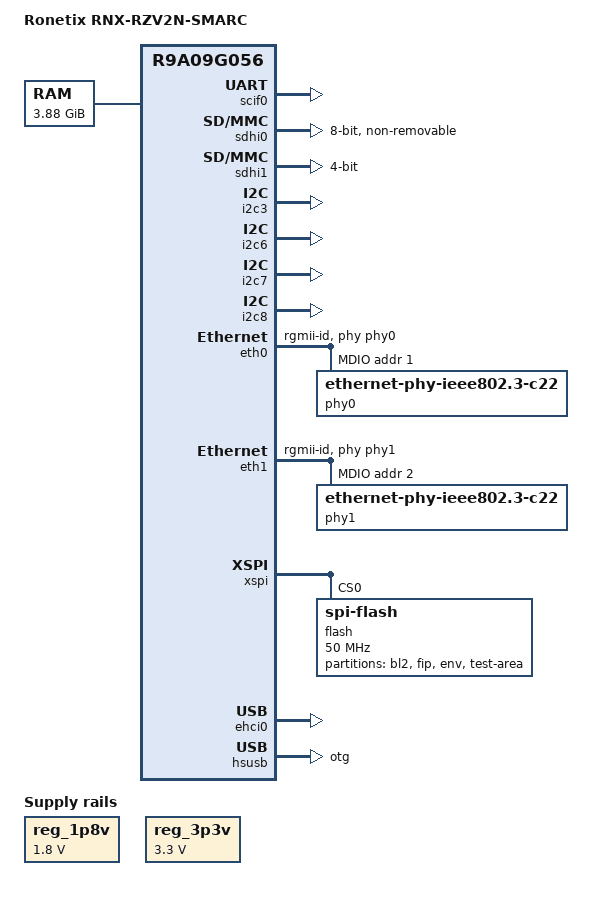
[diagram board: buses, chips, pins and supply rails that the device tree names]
// SPDX-License-Identifier: (GPL-2.0-only OR BSD-2-Clause)
/*
 * Device Tree Source for the RZ/V2N EVK board
 *
 * Copyright (C) 2024 Renesas Electronics Corp.
 */

/dts-v1/;
#include "r9a09g056.dtsi"
#include <dt-bindings/pinctrl/rzv2n-pinctrl.h>

/ {
	model = "Ronetix RNX-RZV2N-SMARC";
	compatible = "renesas,r9a09g056";

	aliases {
		serial0 = &scif0;
		mmc0 = &sdhi0;
		mmc1 = &sdhi1;
		i2c3 = &i2c3;
		i2c6 = &i2c6;
		i2c7 = &i2c7;
		i2c8 = &i2c8;
		spi0 = &xspi;
	};

	chosen {
		stdout-path = "serial0:115200n8";
	};

	memory@48000000 {
		device_type = "memory";
		/* first 128MB is reserved for secure area. */
		reg = <0x0 0x48000000 0x0 0xF8000000>;
	};

	reserved-memory {
		#address-cells = <2>;
		#size-cells = <2>;
		ranges;

		global_cma: linux,cma@58000000 {
			compatible = "shared-dma-pool";
			linux,cma-default;
			reusable;
			reg = <0x0 0x58000000 0x0 0x10000000>;
		};
	};

	reg_1p8v: regulator0 {
		compatible = "regulator-fixed";

		regulator-name = "fixed-1.8V";
		regulator-min-microvolt = <1800000>;
		regulator-max-microvolt = <1800000>;
		regulator-boot-on;
		regulator-always-on;
	};

	reg_3p3v: regulator1 {
		compatible = "regulator-fixed";

		regulator-name = "fixed-3.3V";
		regulator-min-microvolt = <3300000>;
		regulator-max-microvolt = <3300000>;
		regulator-boot-on;
		regulator-always-on;
	};

};

&extal_clk {
	clock-frequency = <24000000>;
};

&scif0 {
	status = "okay";
};

&sdhi0 {
	bus-width = <8>;
	non-removable;
	fixed-emmc-driver-type = <1>;
	status = "okay";
};

&sdhi1 {
	bus-width = <4>;
	status = "okay";
};

&i2c3 {
	status = "okay";
};

&i2c6 {
	status = "okay";
};

&i2c7 {
	status = "okay";
};

&i2c8 {
	status = "okay";
};

&eth0 {
	phy-handle = <&phy0>;
	phy-mode = "rgmii-id";
	status = "okay";

	mdio {
		#address-cells = <1>;
		#size-cells = <0>;
		phy0: ethernet-phy@1 {
			compatible = "ethernet-phy-ieee802.3-c22";
			reg = <1>;
		};
	};
};


&eth1 {
	phy-handle = <&phy1>;
	phy-mode = "rgmii-id";
	status = "okay";

	mdio {
		#address-cells = <1>;
		#size-cells = <0>;
		phy1: ethernet-phy@2 {
			compatible = "ethernet-phy-ieee802.3-c22";
			reg = <2>;
		};
	};
};


&xspi {
	status = "okay";

	flash@0 {
		compatible = "spi-flash", "jedec,spi-nor";
		reg = <0>;
		m25p,fast-read;
		spi-max-frequency = <50000000>;
		spi-tx-bus-width = <1>;
		spi-rx-bus-width = <1>;

		partitions {
			compatible = "fixed-partitions";
			#address-cells = <1>;
			#size-cells = <1>;

			partition@000000 {
				label = "bl2";
				reg = <0x00000000 0x00060000>;
				read-only;
			};
			partition@060000 {
				label = "fip";
				reg = <0x00060000 0x001E0000>;
				read-only;
			};
			partition@1E0000 {
				label = "env";
				reg = <0x001E0000 0x00020000>;
				read-only;
			};
			partition@200000 {
				label = "test-area";
				reg = <0x00200000 0x00E00000>;
			};
		};
	};
};

&ehci0 {
	status = "okay";
};

&hsusb {
	dr_mode = "otg";
	status = "okay";
};
